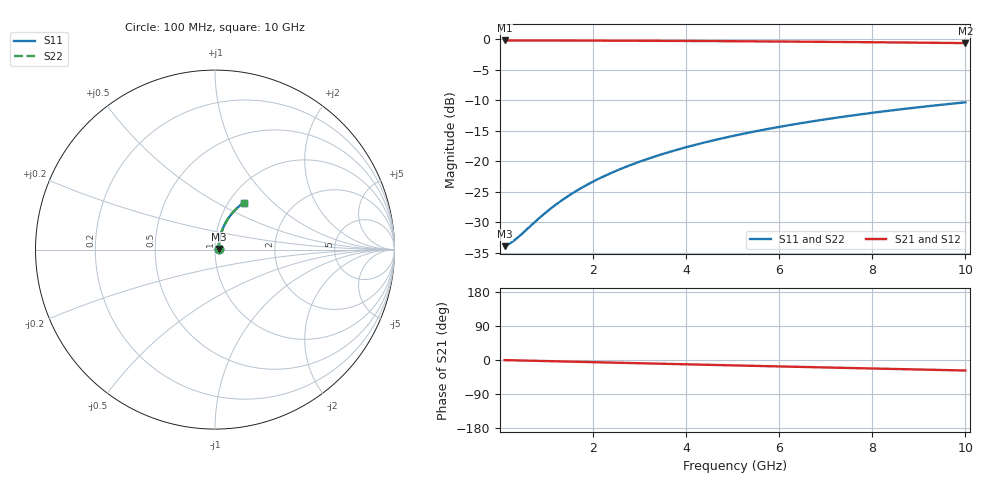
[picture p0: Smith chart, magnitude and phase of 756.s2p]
# Hz S RI R 50.00
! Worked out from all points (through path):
!   100 points, 100 MHz to 10 GHz, reference 50 ohm
!   highest |S21| = -0.17 dB at 100 MHz (marker M1); lowest = -0.6 dB at 10 GHz (marker M2)
!   group delay of S21, straight-line fit = 7.71 ps
!   lowest |S11| = -33.9 dB at 100 MHz (marker M3), VSWR 1.04, Z = 52 + j0.329 ohm
!   |S11| at or under -10 dB: start of sweep to end of sweep
!   |S22| runs from -33.9 to -10.3 dB; largest |S21 - S12| = 0
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1e8  0.0199 0.00316  0.9801 -0.00489  0.9801 -0.00489  0.0199 0.00316
2e8  0.0201 0.00633  0.9799 -0.00977  0.9799 -0.00977  0.0201 0.00633
3e8  0.0203 0.00949  0.9797 -0.0147  0.9797 -0.0147  0.0203 0.00949
4e8  0.0205 0.0126  0.9795 -0.0195  0.9795 -0.0195  0.0205 0.0126
9e8  0.0218 0.0284  0.9781 -0.0439  0.9781 -0.0439  0.0218 0.0284
1.2e9  0.0229 0.0378  0.9769 -0.0585  0.9769 -0.0585  0.0229 0.0378
1.5e9  0.0242 0.0472  0.9754 -0.073  0.9754 -0.073  0.0242 0.0472
1.8e9  0.0259 0.0565  0.9736 -0.0875  0.9736 -0.0875  0.0259 0.0565
2.1e9  0.0278 0.0657  0.9715 -0.1019  0.9715 -0.1019  0.0278 0.0657
2.5e9  0.0307 0.0779  0.9683 -0.121  0.9683 -0.121  0.0307 0.0779
2.9e9  0.0341 0.09  0.9646 -0.14  0.9646 -0.14  0.0341 0.09
3.4e9  0.0391 0.1049  0.9592 -0.1635  0.9592 -0.1635  0.0391 0.1049
3.8e9  0.0435 0.1165  0.9543 -0.182  0.9543 -0.182  0.0435 0.1165
4.2e9  0.0484 0.1279  0.9489 -0.2004  0.9489 -0.2004  0.0484 0.1279
4.6e9  0.0537 0.1391  0.9431 -0.2185  0.9431 -0.2185  0.0537 0.1391
5.1e9  0.0609 0.1528  0.9351 -0.2408  0.9351 -0.2408  0.0609 0.1528
5.9e9  0.0737 0.1737  0.9209 -0.2756  0.9209 -0.2756  0.0737 0.1737
6.7e9  0.088 0.1934  0.9051 -0.3093  0.9051 -0.3093  0.088 0.1934
7.5e9  0.1036 0.2118  0.8877 -0.3416  0.8877 -0.3416  0.1036 0.2118
8.4e9  0.1226 0.2308  0.8666 -0.3763  0.8666 -0.3763  0.1226 0.2308
9.2e9  0.1405 0.2461  0.8464 -0.4057  0.8464 -0.4057  0.1405 0.2461
1e10  0.1593 0.2599  0.8252 -0.4335  0.8252 -0.4335  0.1593 0.2599
